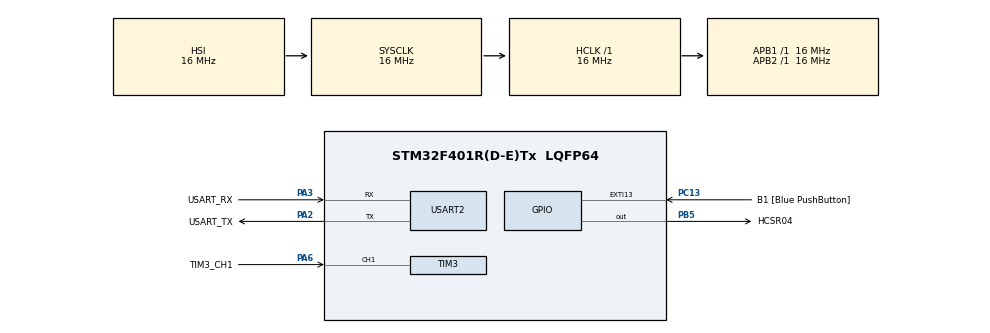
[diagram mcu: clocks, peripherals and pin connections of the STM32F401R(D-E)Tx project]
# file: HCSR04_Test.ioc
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Mcu.Family=STM32F4
Mcu.Name=STM32F401R(D-E)Tx
Mcu.Package=LQFP64
NVIC.PriorityGroup=NVIC_PRIORITYGROUP_4
NVIC.TIM3_IRQn=true\:0\:0\:false\:false\:true\:true\:true\:true
PA13.GPIO_Label=TMS
PA13.Mode=Trace_Asynchronous_SW
PA13.Signal=SYS_JTMS-SWDIO
PA14.GPIO_Label=TCK
PA14.Mode=Trace_Asynchronous_SW
PA14.Signal=SYS_JTCK-SWCLK
PA2.GPIO_Label=USART_TX
PA2.GPIO_Mode=GPIO_MODE_AF_PP
PA2.GPIO_PuPd=GPIO_NOPULL
PA2.GPIO_Speed=GPIO_SPEED_FREQ_LOW
PA2.Mode=Asynchronous
PA2.Signal=USART2_TX
PA3.GPIO_Label=USART_RX
PA3.GPIO_Mode=GPIO_MODE_AF_PP
PA3.GPIO_PuPd=GPIO_NOPULL
PA3.GPIO_Speed=GPIO_SPEED_FREQ_LOW
PA3.Mode=Asynchronous
PA3.Signal=USART2_RX
PA6.GPIO_Label=TIM3_CH1
PA6.Signal=S_TIM3_CH1
PB3.GPIO_Label=SWO
PB3.Mode=Trace_Asynchronous_SW
PB3.Signal=SYS_JTDO-SWO
PB5.GPIO_Label=HCSR04
PB5.Signal=GPIO_Output
PC13-ANTI_TAMP.GPIO_Label=B1 [Blue PushButton]
PC13-ANTI_TAMP.GPIO_ModeDefaultEXTI=GPIO_MODE_IT_FALLING
PC13-ANTI_TAMP.GPIO_PuPd=GPIO_NOPULL
PC13-ANTI_TAMP.Signal=GPXTI13
PC14-OSC32_IN.Mode=LSE-External-Oscillator
PC14-OSC32_IN.Signal=RCC_OSC32_IN
PC15-OSC32_OUT.Mode=LSE-External-Oscillator
PC15-OSC32_OUT.Signal=RCC_OSC32_OUT
PH0\ -\ OSC_IN.Mode=HSE-External-Clock-Source
PH0\ -\ OSC_IN.Signal=RCC_OSC_IN
PH1\ -\ OSC_OUT.Mode=HSE-External-Clock-Source
PH1\ -\ OSC_OUT.Signal=RCC_OSC_OUT
ProjectManager.HeapSize=0x200
ProjectManager.StackSize=0x400
ProjectManager.TargetToolchain=STM32CubeIDE
RCC.48MHZClocksFreq_Value=48000000
RCC.AHBFreq_Value=16000000
RCC.APB1Freq_Value=16000000
RCC.APB1TimFreq_Value=16000000
RCC.APB2Freq_Value=16000000
RCC.APB2TimFreq_Value=16000000
RCC.CortexFreq_Value=16000000
RCC.HCLKFreq_Value=16000000
RCC.HSE_VALUE=8000000
RCC.HSI_VALUE=16000000
RCC.PLLN=336
RCC.PLLP=RCC_PLLP_DIV4
RCC.PLLQ=7
RCC.SYSCLKFreq_VALUE=16000000
RCC.VCOOutputFreq_Value=336000000
SH.S_TIM3_CH1.0=TIM3_CH1,Input_Capture1_from_TI1
TIM3.Channel-Input_Capture1_from_TI1=TIM_CHANNEL_1
TIM3.ICPolarity_CH1=TIM_INPUTCHANNELPOLARITY_BOTHEDGE
TIM3.Period=65536-1
TIM3.Prescaler=16-1
USART2.VirtualMode=VM_ASYNC
VP_TIM3_VS_ClockSourceINT.Mode=Internal
board=NUCLEO-F401RE

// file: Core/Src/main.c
/* USER CODE BEGIN Header */
/**
  ******************************************************************************
  * @file           : main.c
  * @brief          : Main program body
  ******************************************************************************
  * @attention
  *
  * Copyright (c) 2026 STMicroelectronics.
  * All rights reserved.
  *
  * This software is licensed under terms that can be found in the LICENSE file
  * in the root directory of this software component.
  * If no LICENSE file comes with this software, it is provided AS-IS.
  *
  ******************************************************************************
  */
/* USER CODE END Header */
#include "main.h"
#include <string.h>
#include <stdio.h>

TIM_HandleTypeDef htim3;

UART_HandleTypeDef huart2;

void SystemClock_Config(void);
static void MX_GPIO_Init(void);
static void MX_USART2_UART_Init(void);
static void MX_TIM3_Init(void);

/* USER CODE BEGIN 0 */
volatile uint8_t hcsr04_Rx_flag = 0;
volatile uint8_t first_edge = 0;
volatile uint16_t time_edge1 = 0;
volatile uint16_t time_edge2 = 0;volatile uint16_t distance = 0;
void HCSR04_TRIG_PULSE(void)
{
	HAL_GPIO_WritePin(HCSR04_GPIO_Port, HCSR04_Pin, GPIO_PIN_SET);
//		for(int j = 0; j != 15; j = j + 1) {}
	HAL_Delay(1);
	HAL_GPIO_WritePin(HCSR04_GPIO_Port, HCSR04_Pin, GPIO_PIN_RESET);
}
/* USER CODE END 0 */

int main(void)
{

  /* USER CODE BEGIN 1 */
uint16_t time_diff = 0;
uint8_t txd_msg_buffer[64] = {0};
  /* USER CODE END 1 */

  /* MCU Configuration--------------------------------------------------------*/

  /* Reset of all peripherals, Initializes the Flash interface and the Systick. */
  HAL_Init();

  /* Configure the system clock */
  SystemClock_Config();

  /* Initialize all configured peripherals */
  MX_GPIO_Init();
  MX_USART2_UART_Init();
  MX_TIM3_Init();
  /* USER CODE BEGIN 2 */
  HAL_TIM_Base_Init(&htim3);
  HAL_TIM_Base_Start(&htim3);
  HAL_TIM_IC_Start_IT(&htim3, TIM_CHANNEL_1);

  sprintf((char*)txd_msg_buffer, "START\r\n");
  HAL_UART_Transmit(&huart2, txd_msg_buffer, strlen((char*)txd_msg_buffer), 100);
  /* USER CODE END 2 */

  /* Infinite loop */
  /* USER CODE BEGIN WHILE */
//  while (1)
//  {
//	  hcsr04_Rx_flag = 0;
//	  first_edge = 0;
//	  time_edge1 = 0;
//	  time_edge2 = 0;
//	  time_diff = 0;
////	  distance = 0;
//
//	  HCSR04_TRIG_PULSE();
//
//	  sprintf((char*)txd_msg_buffer, "TRIG sent\r\n");
//	  HAL_UART_Transmit(&huart2, txd_msg_buffer, strlen((char*)txd_msg_buffer), 100);
//
//	  // while(hcsr04_Rx_flag == 0) {};
//	  while (hcsr04_Rx_flag == 0) {}
//
//	  time_diff = time_edge2 - time_edge1;
//	  sprintf((char*)txd_msg_buffer, " Pulse Width (usec): %d \r\n", time_diff);
//	  HAL_UART_Transmit(&huart2, txd_msg_buffer, strlen((char*)txd_msg_buffer), 100);
//
//	  distance = (double)time_diff / 58;
//	  sprintf((char*)txd_msg_buffer, " DISTANCE TO OBJECT: %d \r\n", distance);
//	  HAL_UART_Transmit(&huart2, txd_msg_buffer, strlen((char*)txd_msg_buffer), 100);
//    /* USER CODE END WHILE */
  while (1)
  {
	  hcsr04_Rx_flag = 0;
	  first_edge = 0;
	  time_edge1 = 0;
	  time_edge2 = 0;

	  HCSR04_TRIG_PULSE();

	  uint32_t t_start = HAL_GetTick();
	  while (hcsr04_Rx_flag == 0 && (HAL_GetTick() - t_start) < 100) {}

	  if (hcsr04_Rx_flag)
	  {
		  time_diff = time_edge2 - time_edge1;
		  distance = (time_diff + 29) / 58;
		  sprintf((char*)txd_msg_buffer, "Pulse: %d us  Distance: %d cm\r\n", time_diff, distance);
	  }
	  else
	  {
		  sprintf((char*)txd_msg_buffer, "No echo\r\n");
	  }
	  HAL_UART_Transmit(&huart2, txd_msg_buffer, strlen((char*)txd_msg_buffer), 100);

	  HAL_Delay(100);
    /* USER CODE END WHILE */

  }
}

void SystemClock_Config(void)
{
  RCC_OscInitTypeDef RCC_OscInitStruct = {0};
  RCC_ClkInitTypeDef RCC_ClkInitStruct = {0};

  /** Configure the main internal regulator output voltage
  */
  __HAL_RCC_PWR_CLK_ENABLE();
  __HAL_PWR_VOLTAGESCALING_CONFIG(PWR_REGULATOR_VOLTAGE_SCALE2);

  /** Initializes the RCC Oscillators according to the specified parameters
  * in the RCC_OscInitTypeDef structure.
  */
  RCC_OscInitStruct.OscillatorType = RCC_OSCILLATORTYPE_HSI;
  RCC_OscInitStruct.HSIState = RCC_HSI_ON;
  RCC_OscInitStruct.HSICalibrationValue = RCC_HSICALIBRATION_DEFAULT;
  RCC_OscInitStruct.PLL.PLLState = RCC_PLL_NONE;
  if (HAL_RCC_OscConfig(&RCC_OscInitStruct) != HAL_OK)
  {
    Error_Handler();
  }

  /** Initializes the CPU, AHB and APB buses clocks
  */
  RCC_ClkInitStruct.ClockType = RCC_CLOCKTYPE_HCLK|RCC_CLOCKTYPE_SYSCLK
                              |RCC_CLOCKTYPE_PCLK1|RCC_CLOCKTYPE_PCLK2;
  RCC_ClkInitStruct.SYSCLKSource = RCC_SYSCLKSOURCE_HSI;
  RCC_ClkInitStruct.AHBCLKDivider = RCC_SYSCLK_DIV1;
  RCC_ClkInitStruct.APB1CLKDivider = RCC_HCLK_DIV1;
  RCC_ClkInitStruct.APB2CLKDivider = RCC_HCLK_DIV1;

  if (HAL_RCC_ClockConfig(&RCC_ClkInitStruct, FLASH_LATENCY_0) != HAL_OK)
  {
    Error_Handler();
  }
}

static void MX_TIM3_Init(void)
{

  TIM_ClockConfigTypeDef sClockSourceConfig = {0};
  TIM_MasterConfigTypeDef sMasterConfig = {0};
  TIM_IC_InitTypeDef sConfigIC = {0};

  htim3.Instance = TIM3;
  htim3.Init.Prescaler = 16-1;
  htim3.Init.CounterMode = TIM_COUNTERMODE_UP;
  htim3.Init.Period = 65536-1;
  htim3.Init.ClockDivision = TIM_CLOCKDIVISION_DIV1;
  htim3.Init.AutoReloadPreload = TIM_AUTORELOAD_PRELOAD_DISABLE;
  if (HAL_TIM_Base_Init(&htim3) != HAL_OK)
  {
    Error_Handler();
  }
  sClockSourceConfig.ClockSource = TIM_CLOCKSOURCE_INTERNAL;
  if (HAL_TIM_ConfigClockSource(&htim3, &sClockSourceConfig) != HAL_OK)
  {
    Error_Handler();
  }
  if (HAL_TIM_IC_Init(&htim3) != HAL_OK)
  {
    Error_Handler();
  }
  sMasterConfig.MasterOutputTrigger = TIM_TRGO_RESET;
  sMasterConfig.MasterSlaveMode = TIM_MASTERSLAVEMODE_DISABLE;
  if (HAL_TIMEx_MasterConfigSynchronization(&htim3, &sMasterConfig) != HAL_OK)
  {
    Error_Handler();
  }
  sConfigIC.ICPolarity = TIM_INPUTCHANNELPOLARITY_BOTHEDGE;
  sConfigIC.ICSelection = TIM_ICSELECTION_DIRECTTI;
  sConfigIC.ICPrescaler = TIM_ICPSC_DIV1;
  sConfigIC.ICFilter = 0;
  if (HAL_TIM_IC_ConfigChannel(&htim3, &sConfigIC, TIM_CHANNEL_1) != HAL_OK)
  {
    Error_Handler();
  }

}

static void MX_USART2_UART_Init(void)
{

  huart2.Instance = USART2;
  huart2.Init.BaudRate = 115200;
  huart2.Init.WordLength = UART_WORDLENGTH_8B;
  huart2.Init.StopBits = UART_STOPBITS_1;
  huart2.Init.Parity = UART_PARITY_NONE;
  huart2.Init.Mode = UART_MODE_TX_RX;
  huart2.Init.HwFlowCtl = UART_HWCONTROL_NONE;
  huart2.Init.OverSampling = UART_OVERSAMPLING_16;
  if (HAL_UART_Init(&huart2) != HAL_OK)
  {
    Error_Handler();
  }

}

static void MX_GPIO_Init(void)
{
  GPIO_InitTypeDef GPIO_InitStruct = {0};

  /* GPIO Ports Clock Enable */
  __HAL_RCC_GPIOC_CLK_ENABLE();
  __HAL_RCC_GPIOH_CLK_ENABLE();
  __HAL_RCC_GPIOA_CLK_ENABLE();
  __HAL_RCC_GPIOB_CLK_ENABLE();

  /*Configure GPIO pin Output Level */
  HAL_GPIO_WritePin(HCSR04_GPIO_Port, HCSR04_Pin, GPIO_PIN_RESET);

  /*Configure GPIO pin : B1_Pin */
  GPIO_InitStruct.Pin = B1_Pin;
  GPIO_InitStruct.Mode = GPIO_MODE_IT_FALLING;
  GPIO_InitStruct.Pull = GPIO_NOPULL;
  HAL_GPIO_Init(B1_GPIO_Port, &GPIO_InitStruct);

  /*Configure GPIO pin : HCSR04_Pin */
  GPIO_InitStruct.Pin = HCSR04_Pin;
  GPIO_InitStruct.Mode = GPIO_MODE_OUTPUT_PP;
  GPIO_InitStruct.Pull = GPIO_NOPULL;
  GPIO_InitStruct.Speed = GPIO_SPEED_FREQ_LOW;
  HAL_GPIO_Init(HCSR04_GPIO_Port, &GPIO_InitStruct);

}

/* USER CODE BEGIN 4 */
void HAL_TIM_IC_CaptureCallback(TIM_HandleTypeDef *htim)
{
	if(htim->Instance == TIM3)
	{
		if(htim->Channel == 1)
		{
			if(first_edge == 0)
			{
				time_edge1 = HAL_TIM_ReadCapturedValue(htim, TIM_CHANNEL_1);
				first_edge = 1;
			}
		else
		{
			time_edge2 = HAL_TIM_ReadCapturedValue(htim, TIM_CHANNEL_1);
			__HAL_TIM_SET_COUNTER(htim, 0);
			hcsr04_Rx_flag = 1;
		}
		}
	}
}
/* USER CODE END 4 */

void Error_Handler(void)
{
  __disable_irq();
  while (1)
  {
  }
}
